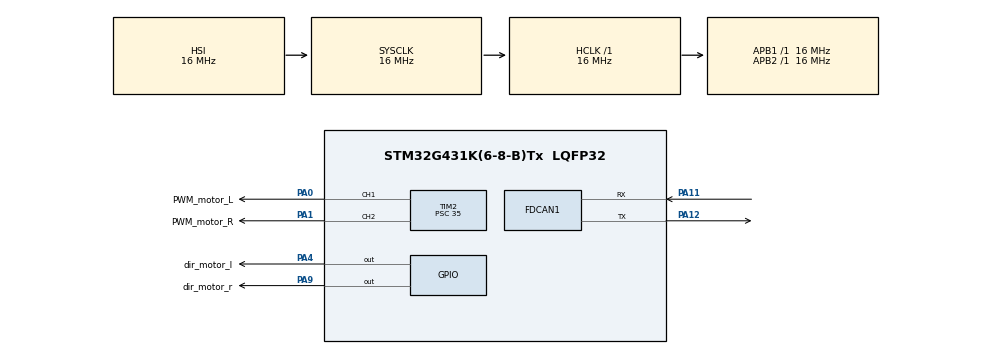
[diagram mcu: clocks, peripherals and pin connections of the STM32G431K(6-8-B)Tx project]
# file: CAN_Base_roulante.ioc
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FDCAN1.CalculateBaudRateNominal=125000
FDCAN1.CalculateTimeBitNominal=8000
FDCAN1.CalculateTimeQuantumNominal=1000.0
FDCAN1.ClockDivider=FDCAN_CLOCK_DIV2
FDCAN1.NominalPrescaler=8
FDCAN1.NominalTimeSeg1=3
FDCAN1.NominalTimeSeg2=4
FDCAN1.StdFiltersNbr=1
Mcu.Family=STM32G4
Mcu.Name=STM32G431K(6-8-B)Tx
Mcu.Package=LQFP32
NVIC.PriorityGroup=NVIC_PRIORITYGROUP_4
PA0.GPIO_Label=PWM_motor_L
PA0.Signal=S_TIM2_CH1
PA1.GPIO_Label=PWM_motor_R
PA1.Signal=S_TIM2_CH2
PA11.Mode=FDCAN_Activate
PA11.Signal=FDCAN1_RX
PA12.Mode=FDCAN_Activate
PA12.Signal=FDCAN1_TX
PA4.GPIO_Label=dir_motor_l
PA4.Signal=GPIO_Output
PA9.GPIO_Label=dir_motor_r
PA9.Signal=GPIO_Output
PF0-OSC_IN.Mode=HSE-External-Oscillator
PF0-OSC_IN.Signal=RCC_OSC_IN
PF1-OSC_OUT.Mode=HSE-External-Oscillator
PF1-OSC_OUT.Signal=RCC_OSC_OUT
ProjectManager.HeapSize=0x200
ProjectManager.StackSize=0x400
ProjectManager.TargetToolchain=STM32CubeIDE
RCC.AHBFreq_Value=16000000
RCC.APB1Freq_Value=16000000
RCC.APB1TimFreq_Value=16000000
RCC.APB2Freq_Value=16000000
RCC.APB2TimFreq_Value=16000000
RCC.CortexFreq_Value=16000000
RCC.EXTERNAL_CLOCK_VALUE=12288000
RCC.HCLKFreq_Value=16000000
RCC.HSE_VALUE=8000000
RCC.HSI48_VALUE=48000000
RCC.HSI_VALUE=16000000
RCC.LSE_VALUE=32768
RCC.SYSCLKFreq_VALUE=16000000
RCC.USBFreq_Value=64000000
RCC.VCOOutputFreq_Value=128000000
SH.S_TIM2_CH1.0=TIM2_CH1,PWM Generation1 CH1
SH.S_TIM2_CH2.0=TIM2_CH2,PWM Generation2 CH2
TIM2.Channel-PWM\ Generation1\ CH1=TIM_CHANNEL_1
TIM2.Channel-PWM\ Generation2\ CH2=TIM_CHANNEL_2
TIM2.PeriodNoDither=99
TIM2.Prescaler=35
VP_SYS_VS_DBSignals.Mode=DisableDeadBatterySignals
VP_TIM2_VS_ClockSourceINT.Mode=Internal
board=custom

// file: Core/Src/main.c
/* USER CODE BEGIN Header */
/**
  ******************************************************************************
  * @file           : main.c
  * @brief          : Main program body
  ******************************************************************************
  * @attention
  *
  * Copyright (c) 2024 STMicroelectronics.
  * All rights reserved.
  *
  * This software is licensed under terms that can be found in the LICENSE file
  * in the root directory of this software component.
  * If no LICENSE file comes with this software, it is provided AS-IS.
  *
  ******************************************************************************
  */
/* USER CODE END Header */
#include "main.h"

/* USER CODE BEGIN Includes */
#include "MOTOR_DC/motor_dc.h"
/* USER CODE END Includes */

/* USER CODE BEGIN PD */
#define MOTOR_1_TIM_CHANNEL TIM_CHANNEL_1
#define MOTOR_2_TIM_CHANNEL TIM_CHANNEL_2
#define MOTOR_3_TIM_CHANNEL TIM_CHANNEL_3
#define MOTOR_4_TIM_CHANNEL TIM_CHANNEL_4

/*
 * CAN ID for this module: 2 (Base roulante)
 *
 * 0 : urgency
 * 1 : raspy
 * 2 : base roulante (Left + Right)
 * 3 : base roulante 2 (Front + Rear)
 * 4 : bras
 * 5 : stockage
 * 6 : etc...
 */
#define CAN_ID_SRC 2
/* USER CODE END PD */

FDCAN_HandleTypeDef hfdcan1;

TIM_HandleTypeDef htim2;

/* USER CODE BEGIN PV */
FDCAN_RxHeaderTypeDef rxHeader; /* The rxHeader does not need to be constructed , it is only filled in when Rx messages are read */
FDCAN_TxHeaderTypeDef txHeader;
uint8_t canRX[8] = {0,0,0,0,0,0,0,0};
uint8_t canTX[8] = {1,2,3,4,5,6,7,8};

FDCAN_FilterTypeDef canfil;

/* USER CODE END PV */

void SystemClock_Config(void);
static void MX_GPIO_Init(void);
static void MX_FDCAN1_Init(void);
static void MX_TIM2_Init(void);

/* USER CODE BEGIN 0 */

/*  Commands:
	| ID commande | 1st param | Opt params | Description |
	| :--: | :--: | :--: | :-- |
	| 0 | | | stop() |
	| 1 | | | ping() |
	| 2 | idMot | speed | setSpeed(idMot, speed) |
	| 3 | idMot | direction | setMotorDirection(idMot, direction) |
	| 4 | idMot | | getPosition(idMotor) |
	| 5 | idMot | position | getPositionACK(idMot, position) |
*/

/*
 * 3 bits priority
 * 4 bits id_dest
 * 4 bits id_src
 */
void CAN_make_header(uint8_t priority, uint8_t id_dest, uint8_t id_src) {
	uint32_t identifier;
	identifier = ((priority & 0x07) << 8) | ((id_dest & 0x0F) << 4) | (id_src & 0x0F);
	// Make tx
	txHeader.Identifier = identifier;
	txHeader.IdType = FDCAN_STANDARD_ID;
	txHeader.TxFrameType = FDCAN_DATA_FRAME;
	txHeader.DataLength = FDCAN_DLC_BYTES_8;
	txHeader.ErrorStateIndicator = FDCAN_ESI_ACTIVE;
	txHeader.BitRateSwitch = FDCAN_BRS_OFF;
	txHeader.FDFormat = FDCAN_FD_CAN;
	txHeader.TxEventFifoControl = FDCAN_NO_TX_EVENTS;
	txHeader.MessageMarker = 0;
}

void CAN_Send(uint8_t* data, uint8_t priority, uint8_t id_dest) {
	CAN_make_header(priority, id_dest, CAN_ID_SRC);

	for(int i=0; i < 8; i++)
		canTX[i] = data[i];

	if(HAL_FDCAN_AddMessageToTxFifoQ(&hfdcan1, &txHeader, canTX) != HAL_OK)
	{
		Error_Handler();
	}

}

uint8_t CAN_decode_id_src() {
	return (rxHeader.Identifier & 0x0F);
}

void sendBackPing() {
	uint8_t data[8] = {1,0,0,0,0,0,0,0};
	CAN_Send(data, 1, CAN_decode_id_src());
}

/* USER CODE END 0 */

int main(void)
{
  /* USER CODE BEGIN 1 */
	Motor_Config motor_L;
	Motor_Config motor_R;
  /* USER CODE END 1 */

  /* MCU Configuration--------------------------------------------------------*/

  /* Reset of all peripherals, Initializes the Flash interface and the Systick. */
  HAL_Init();

  /* Configure the system clock */
  SystemClock_Config();

  /* Initialize all configured peripherals */
  MX_GPIO_Init();
  MX_FDCAN1_Init();
  MX_TIM2_Init();
  /* USER CODE BEGIN 2 */

  /* Make function to easily create Identifier */
  /* Make function to decode Identifier */
  txHeader.Identifier = 0x11;

    txHeader.IdType = FDCAN_STANDARD_ID;
    txHeader.TxFrameType = FDCAN_DATA_FRAME;
    txHeader.DataLength = FDCAN_DLC_BYTES_8;
    txHeader.ErrorStateIndicator = FDCAN_ESI_ACTIVE;
    txHeader.BitRateSwitch = FDCAN_BRS_OFF;
    txHeader.FDFormat = FDCAN_FD_CAN;
    txHeader.TxEventFifoControl = FDCAN_NO_TX_EVENTS;
    txHeader.MessageMarker = 0;

	motor_L = Motor_Init(dir_motor_l_GPIO_Port, dir_motor_l_Pin, &htim2, TIM_CHANNEL_1);
	motor_R = Motor_Init(dir_motor_r_GPIO_Port, dir_motor_r_Pin, &htim2, TIM_CHANNEL_2);
	Motor_Set_Direction(motor_L, MOTOR_DIRECTION_CW);
	Motor_Set_Direction(motor_R, MOTOR_DIRECTION_CW); /* This works when I change CW to CCW , the oscilloscope displays different voltages */
	Motor_Start(motor_L);
	Motor_Start(motor_R);
	HAL_Delay(2000);

  /* USER CODE END 2 */

  /* Infinite loop */
  while (1)
  {

    /* USER CODE BEGIN 3 */
	  if (HAL_FDCAN_GetRxMessage(&hfdcan1,FDCAN_RX_FIFO0,&rxHeader,canRX) != HAL_OK)
	  {
		  if (hfdcan1.ErrorCode == HAL_FDCAN_ERROR_FIFO_EMPTY)
		  {

		  }
		  else
		  {
			  Error_Handler(); /* When the RxFifo is empty, an error is returned by the HAL */
		  }
	  } else {
		  switch (canRX[0]) {
			  case 4: // getPosition(idMotor)
				  if(canRX[1] == 0) { // LEFT
					  uint8_t speed = Motor_Get_Speed(motor_L);
					  uint8_t data4[8] = {5,0,speed,0,0,0,0,0};
					  CAN_Send(data4, 1, CAN_decode_id_src());
				  } else if(canRX[1] == 1) {
					  uint8_t speed = Motor_Get_Speed(motor_R);
					  uint8_t data4[8] = {5,1,speed,0,0,0,0,0};
					  CAN_Send(data4, 1, CAN_decode_id_src());
				  }
				  break;
			  case 3: //setMotorDirection(idMot, direction)

				  if(canRX[1] == 0) { // LEFT
					  if(canRX[2] == 0) { // CW
						  Motor_Set_Direction(motor_L, MOTOR_DIRECTION_CW);

					  } else if(canRX[2] == 1) { // CCW
						  Motor_Set_Direction(motor_L, MOTOR_DIRECTION_CCW);
					  }
				  } else if(canRX[1] == 1) { // RIGHT
					  if(canRX[2] == 0) { // CW
						  Motor_Set_Direction(motor_R, MOTOR_DIRECTION_CW);
					  } else if(canRX[2] == 1) { // CCW
						  Motor_Set_Direction(motor_R, MOTOR_DIRECTION_CCW);
					  }
				  }
				  uint8_t data3[8] = {canRX[0],canRX[1],canRX[2],1,1,1,1,1};
				  CAN_Send(data3, 1, CAN_decode_id_src());

				  break;
			  case 2: // setSpeed(idMot, speed)
				  if(canRX[1] == 0) { // LEFT
					  uint8_t speed = canRX[2];
					  Motor_Set_Speed(motor_L, speed);
				  } else if(canRX[1] == 1) { // RIGHT
					  uint8_t speed = canRX[2];
					  Motor_Set_Speed(motor_R, speed);
				  }
				  uint8_t data2[8] = {canRX[0],canRX[1],canRX[2],1,1,1,1,1};
				  CAN_Send(data2, 1, CAN_decode_id_src());

				  break;
			  case 1: // PING
				  sendBackPing();
				  break;
			  case 0: // STOP
				  Motor_Set_Speed(motor_L, 0);
				  Motor_Set_Speed(motor_R, 0);
				  uint8_t data0[8] = {canRX[0],canRX[1],canRX[2],1,1,1,1,1};
				  CAN_Send(data0, 1, CAN_decode_id_src());
			  default:
				  break;

		  }
		  HAL_Delay(10);
	  }

  }
  /* USER CODE END 3 */
}

void SystemClock_Config(void)
{
  RCC_OscInitTypeDef RCC_OscInitStruct = {0};
  RCC_ClkInitTypeDef RCC_ClkInitStruct = {0};

  /** Configure the main internal regulator output voltage
  */
  HAL_PWREx_ControlVoltageScaling(PWR_REGULATOR_VOLTAGE_SCALE1);

  /** Initializes the RCC Oscillators according to the specified parameters
  * in the RCC_OscInitTypeDef structure.
  */
  RCC_OscInitStruct.OscillatorType = RCC_OSCILLATORTYPE_HSI;
  RCC_OscInitStruct.HSIState = RCC_HSI_ON;
  RCC_OscInitStruct.HSICalibrationValue = RCC_HSICALIBRATION_DEFAULT;
  RCC_OscInitStruct.PLL.PLLState = RCC_PLL_NONE;
  if (HAL_RCC_OscConfig(&RCC_OscInitStruct) != HAL_OK)
  {
    Error_Handler();
  }

  /** Initializes the CPU, AHB and APB buses clocks
  */
  RCC_ClkInitStruct.ClockType = RCC_CLOCKTYPE_HCLK|RCC_CLOCKTYPE_SYSCLK
                              |RCC_CLOCKTYPE_PCLK1|RCC_CLOCKTYPE_PCLK2;
  RCC_ClkInitStruct.SYSCLKSource = RCC_SYSCLKSOURCE_HSI;
  RCC_ClkInitStruct.AHBCLKDivider = RCC_SYSCLK_DIV1;
  RCC_ClkInitStruct.APB1CLKDivider = RCC_HCLK_DIV1;
  RCC_ClkInitStruct.APB2CLKDivider = RCC_HCLK_DIV1;

  if (HAL_RCC_ClockConfig(&RCC_ClkInitStruct, FLASH_LATENCY_0) != HAL_OK)
  {
    Error_Handler();
  }
}

static void MX_FDCAN1_Init(void)
{

  hfdcan1.Instance = FDCAN1;
  hfdcan1.Init.ClockDivider = FDCAN_CLOCK_DIV2;
  hfdcan1.Init.FrameFormat = FDCAN_FRAME_CLASSIC;
  hfdcan1.Init.Mode = FDCAN_MODE_NORMAL;
  hfdcan1.Init.AutoRetransmission = DISABLE;
  hfdcan1.Init.TransmitPause = DISABLE;
  hfdcan1.Init.ProtocolException = DISABLE;
  hfdcan1.Init.NominalPrescaler = 8;
  hfdcan1.Init.NominalSyncJumpWidth = 1;
  hfdcan1.Init.NominalTimeSeg1 = 3;
  hfdcan1.Init.NominalTimeSeg2 = 4;
  hfdcan1.Init.DataPrescaler = 1;
  hfdcan1.Init.DataSyncJumpWidth = 1;
  hfdcan1.Init.DataTimeSeg1 = 1;
  hfdcan1.Init.DataTimeSeg2 = 1;
  hfdcan1.Init.StdFiltersNbr = 1;
  hfdcan1.Init.ExtFiltersNbr = 0;
  hfdcan1.Init.TxFifoQueueMode = FDCAN_TX_FIFO_OPERATION;
  if (HAL_FDCAN_Init(&hfdcan1) != HAL_OK)
  {
    Error_Handler();
  }
  /* USER CODE BEGIN FDCAN1_Init 2 */

  	/* Configurer le filtre global avant de configurer le filtre canfil , sinon le filtre rejette tout */
    if (HAL_FDCAN_ConfigGlobalFilter(&hfdcan1, FDCAN_REJECT,FDCAN_REJECT, FDCAN_REJECT_REMOTE,FDCAN_REJECT_REMOTE) != HAL_OK)
      {
      	Error_Handler();
      }

    canfil.IdType = FDCAN_STANDARD_ID;
    canfil.FilterIndex = 0;
    canfil.FilterType = FDCAN_FILTER_MASK;
    canfil.FilterConfig = FDCAN_FILTER_TO_RXFIFO0;
    canfil.FilterID1 = 0x13;
    canfil.FilterID2 = 0x13;

    if (HAL_FDCAN_ConfigFilter(&hfdcan1, &canfil) != HAL_OK)
    {
      /* Filter configuration Error */
      Error_Handler();
    }

    /* Start the FDCAN module */
    if (HAL_FDCAN_Start(&hfdcan1) != HAL_OK)
    {
      Error_Handler();
    }

    if (HAL_FDCAN_ActivateNotification(&hfdcan1, FDCAN_IT_RX_FIFO0_NEW_MESSAGE, 0) != HAL_OK)
    {
      Error_Handler();
    }

  /* USER CODE END FDCAN1_Init 2 */

}

static void MX_TIM2_Init(void)
{

  TIM_ClockConfigTypeDef sClockSourceConfig = {0};
  TIM_MasterConfigTypeDef sMasterConfig = {0};
  TIM_OC_InitTypeDef sConfigOC = {0};

  htim2.Instance = TIM2;
  htim2.Init.Prescaler = 35;
  htim2.Init.CounterMode = TIM_COUNTERMODE_UP;
  htim2.Init.Period = 99;
  htim2.Init.ClockDivision = TIM_CLOCKDIVISION_DIV1;
  htim2.Init.AutoReloadPreload = TIM_AUTORELOAD_PRELOAD_DISABLE;
  if (HAL_TIM_Base_Init(&htim2) != HAL_OK)
  {
    Error_Handler();
  }
  sClockSourceConfig.ClockSource = TIM_CLOCKSOURCE_INTERNAL;
  if (HAL_TIM_ConfigClockSource(&htim2, &sClockSourceConfig) != HAL_OK)
  {
    Error_Handler();
  }
  if (HAL_TIM_PWM_Init(&htim2) != HAL_OK)
  {
    Error_Handler();
  }
  sMasterConfig.MasterOutputTrigger = TIM_TRGO_RESET;
  sMasterConfig.MasterSlaveMode = TIM_MASTERSLAVEMODE_DISABLE;
  if (HAL_TIMEx_MasterConfigSynchronization(&htim2, &sMasterConfig) != HAL_OK)
  {
    Error_Handler();
  }
  sConfigOC.OCMode = TIM_OCMODE_PWM1;
  sConfigOC.Pulse = 0;
  sConfigOC.OCPolarity = TIM_OCPOLARITY_HIGH;
  sConfigOC.OCFastMode = TIM_OCFAST_DISABLE;
  if (HAL_TIM_PWM_ConfigChannel(&htim2, &sConfigOC, TIM_CHANNEL_1) != HAL_OK)
  {
    Error_Handler();
  }
  if (HAL_TIM_PWM_ConfigChannel(&htim2, &sConfigOC, TIM_CHANNEL_2) != HAL_OK)
  {
    Error_Handler();
  }
  HAL_TIM_MspPostInit(&htim2);

}

static void MX_GPIO_Init(void)
{
  GPIO_InitTypeDef GPIO_InitStruct = {0};

  /* GPIO Ports Clock Enable */
  __HAL_RCC_GPIOF_CLK_ENABLE();
  __HAL_RCC_GPIOA_CLK_ENABLE();

  /*Configure GPIO pin Output Level */
  HAL_GPIO_WritePin(GPIOA, dir_motor_l_Pin|dir_motor_r_Pin, GPIO_PIN_RESET);

  /*Configure GPIO pins : dir_motor_l_Pin dir_motor_r_Pin */
  GPIO_InitStruct.Pin = dir_motor_l_Pin|dir_motor_r_Pin;
  GPIO_InitStruct.Mode = GPIO_MODE_OUTPUT_PP;
  GPIO_InitStruct.Pull = GPIO_NOPULL;
  GPIO_InitStruct.Speed = GPIO_SPEED_FREQ_LOW;
  HAL_GPIO_Init(GPIOA, &GPIO_InitStruct);

}

void Error_Handler(void)
{
  __disable_irq();
  while (1)
  {
  }
}
